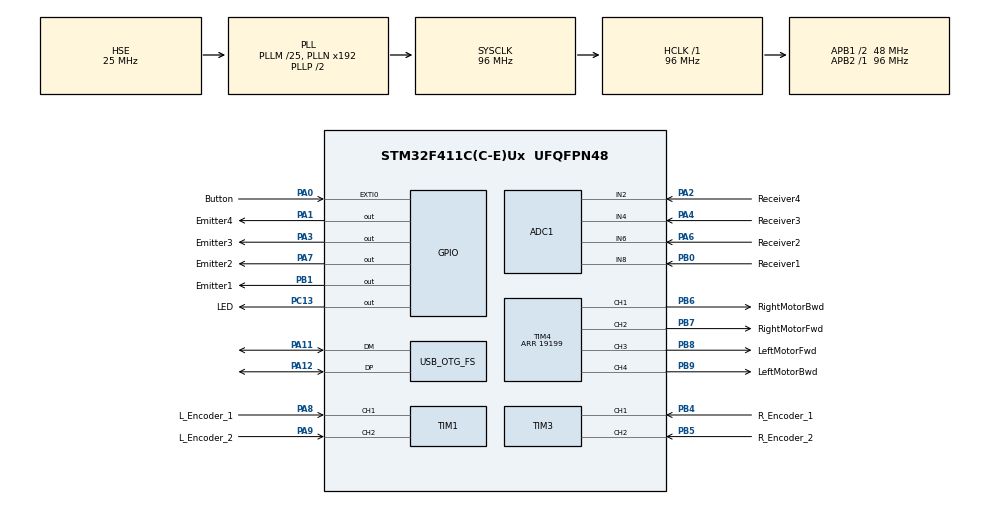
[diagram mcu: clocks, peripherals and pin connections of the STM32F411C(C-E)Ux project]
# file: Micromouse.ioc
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ADC1.Channel-0\#ChannelRegularConversion=ADC_CHANNEL_8
ADC1.ContinuousConvMode=ENABLE
ADC1.DMAContinuousRequests=ENABLE
ADC1.NbrOfConversionFlag=1
ADC1.Rank-0\#ChannelRegularConversion=1
ADC1.SamplingTime-0\#ChannelRegularConversion=ADC_SAMPLETIME_3CYCLES
ADC1.master=1
Dma.ADC1.0.Direction=DMA_PERIPH_TO_MEMORY
Dma.ADC1.0.FIFOMode=DMA_FIFOMODE_DISABLE
Dma.ADC1.0.Instance=DMA2_Stream0
Dma.ADC1.0.MemDataAlignment=DMA_MDATAALIGN_HALFWORD
Dma.ADC1.0.MemInc=DMA_MINC_ENABLE
Dma.ADC1.0.Mode=DMA_CIRCULAR
Dma.ADC1.0.PeriphDataAlignment=DMA_PDATAALIGN_HALFWORD
Dma.ADC1.0.PeriphInc=DMA_PINC_DISABLE
Dma.ADC1.0.Priority=DMA_PRIORITY_LOW
Dma.Request0=ADC1
Mcu.Family=STM32F4
Mcu.Name=STM32F411C(C-E)Ux
Mcu.Package=UFQFPN48
NVIC.DMA2_Stream0_IRQn=true\:0\:0\:false\:false\:true\:false\:true\:true
NVIC.EXTI0_IRQn=true\:0\:0\:false\:false\:true\:true\:true\:true
NVIC.OTG_FS_IRQn=true\:0\:0\:false\:false\:true\:false\:true\:true
NVIC.PriorityGroup=NVIC_PRIORITYGROUP_4
NVIC.TIM4_IRQn=true\:0\:0\:false\:false\:true\:true\:true\:true
PA0-WKUP.GPIO_Label=Button
PA0-WKUP.GPIO_ModeDefaultEXTI=GPIO_MODE_IT_RISING_FALLING
PA0-WKUP.GPIO_PuPd=GPIO_PULLUP
PA0-WKUP.Signal=GPXTI0
PA1.GPIO_Label=Emitter4
PA1.Signal=GPIO_Output
PA11.Mode=Device_Only
PA11.Signal=USB_OTG_FS_DM
PA12.Mode=Device_Only
PA12.Signal=USB_OTG_FS_DP
PA2.GPIO_Label=Receiver4
PA2.Signal=ADCx_IN2
PA3.GPIO_Label=Emitter3
PA3.Signal=GPIO_Output
PA4.GPIO_Label=Receiver3
PA4.Signal=ADCx_IN4
PA6.GPIO_Label=Receiver2
PA6.Signal=ADCx_IN6
PA7.GPIO_Label=Emitter2
PA7.Signal=GPIO_Output
PA8.GPIO_Label=L_Encoder_1
PA8.Signal=S_TIM1_CH1
PA9.GPIO_Label=L_Encoder_2
PA9.Signal=S_TIM1_CH2
PB0.GPIO_Label=Receiver1
PB0.Signal=ADCx_IN8
PB1.GPIO_Label=Emitter1
PB1.Signal=GPIO_Output
PB4.GPIO_Label=R_Encoder_1
PB4.Signal=S_TIM3_CH1
PB5.GPIO_Label=R_Encoder_2
PB5.Signal=S_TIM3_CH2
PB6.GPIO_Label=RightMotorBwd
PB6.Signal=S_TIM4_CH1
PB7.GPIO_Label=RightMotorFwd
PB7.Signal=S_TIM4_CH2
PB8.GPIO_Label=LeftMotorFwd
PB8.Signal=S_TIM4_CH3
PB9.GPIO_Label=LeftMotorBwd
PB9.Signal=S_TIM4_CH4
PC13-ANTI_TAMP.GPIO_Label=LED
PC13-ANTI_TAMP.PinState=GPIO_PIN_SET
PC13-ANTI_TAMP.Signal=GPIO_Output
PH0\ -\ OSC_IN.Mode=HSE-External-Oscillator
PH0\ -\ OSC_IN.Signal=RCC_OSC_IN
PH1\ -\ OSC_OUT.Mode=HSE-External-Oscillator
PH1\ -\ OSC_OUT.Signal=RCC_OSC_OUT
ProjectManager.HeapSize=0x200
ProjectManager.StackSize=0x1000
ProjectManager.TargetToolchain=CMake
RCC.48MHZClocksFreq_Value=48000000
RCC.AHBFreq_Value=96000000
RCC.APB1CLKDivider=RCC_HCLK_DIV2
RCC.APB1Freq_Value=48000000
RCC.APB1TimFreq_Value=96000000
RCC.APB2Freq_Value=96000000
RCC.APB2TimFreq_Value=96000000
RCC.CortexFreq_Value=96000000
RCC.HCLKFreq_Value=96000000
RCC.HSE_VALUE=25000000
RCC.HSI_VALUE=16000000
RCC.LSE_VALUE=32768
RCC.PLLM=25
RCC.SYSCLKFreq_VALUE=96000000
RCC.SYSCLKSource=RCC_SYSCLKSOURCE_PLLCLK
RCC.VCOOutputFreq_Value=192000000
SH.ADCx_IN2.0=ADC1_IN2,IN2
SH.ADCx_IN4.0=ADC1_IN4,IN4
SH.ADCx_IN6.0=ADC1_IN6,IN6
SH.ADCx_IN8.0=ADC1_IN8,IN8
SH.S_TIM1_CH1.0=TIM1_CH1,Encoder_Interface
SH.S_TIM1_CH2.0=TIM1_CH2,Encoder_Interface
SH.S_TIM3_CH1.0=TIM3_CH1,Encoder_Interface
SH.S_TIM3_CH2.0=TIM3_CH2,Encoder_Interface
SH.S_TIM4_CH1.0=TIM4_CH1,PWM Generation1 CH1
SH.S_TIM4_CH2.0=TIM4_CH2,PWM Generation2 CH2
SH.S_TIM4_CH3.0=TIM4_CH3,PWM Generation3 CH3
SH.S_TIM4_CH4.0=TIM4_CH4,PWM Generation4 CH4
TIM1.EncoderMode=TIM_ENCODERMODE_TI12
TIM3.EncoderMode=TIM_ENCODERMODE_TI12
TIM4.Channel-PWM\ Generation1\ CH1=TIM_CHANNEL_1
TIM4.Channel-PWM\ Generation2\ CH2=TIM_CHANNEL_2
TIM4.Channel-PWM\ Generation3\ CH3=TIM_CHANNEL_3
TIM4.Channel-PWM\ Generation4\ CH4=TIM_CHANNEL_4
TIM4.Period=19199
USB_DEVICE.CLASS_NAME_FS=CDC
USB_DEVICE.VirtualMode=Cdc
USB_DEVICE.VirtualModeFS=Cdc_FS
USB_OTG_FS.VirtualMode=Device_Only
VP_USB_DEVICE_VS_USB_DEVICE_CDC_FS.Mode=CDC_FS
board=custom

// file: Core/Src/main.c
/* USER CODE BEGIN Header */
/**
  ******************************************************************************
  * @file           : main.c
  * @brief          : Main program body
  ******************************************************************************
  * @attention
  *
  * Copyright (c) 2026 STMicroelectronics.
  * All rights reserved.
  *
  * This software is licensed under terms that can be found in the LICENSE file
  * in the root directory of this software component.
  * If no LICENSE file comes with this software, it is provided AS-IS.
  *
  ******************************************************************************
  */
/* USER CODE END Header */
#include "main.h"
#include "usb_device.h"

/* USER CODE BEGIN Includes */
#include "motors.h"
#include "encoders.h"
#include <stdio.h>
#include "usbd_cdc_if.h"
#include "irs.h"
#include "delay.h"

/* USER CODE END Includes */

ADC_HandleTypeDef hadc1;
DMA_HandleTypeDef hdma_adc1;

TIM_HandleTypeDef htim1;
TIM_HandleTypeDef htim3;
TIM_HandleTypeDef htim4;

/* USER CODE BEGIN PV */
__attribute__((section(".noinit"))) uint32_t dfu_boot_flag;
#define DFU_MAGIC_KEY 0x12345678
int buttonPressed = 0; // Flag to track button press state
uint32_t pressTime;

int16_t left_counts = 0;
int16_t right_counts = 0;

uint16_t ir1 = 0;
uint16_t ir2 = 0;
uint16_t ir3 = 0;
uint16_t ir4 = 0;

/* USER CODE END PV */

void SystemClock_Config(void);
static void MX_GPIO_Init(void);
static void MX_DMA_Init(void);
static void MX_TIM1_Init(void);
static void MX_TIM3_Init(void);
static void MX_TIM4_Init(void);
static void MX_ADC1_Init(void);

int main(void)
{

  /* USER CODE BEGIN 1 */
  if (dfu_boot_flag == DFU_MAGIC_KEY) {
    dfu_boot_flag = 0;
    void (*SysMemBootJump)(void) = (void (*)(void))(*((uint32_t *)0x1FFF0004));
    __set_MSP(*((uint32_t *)0x1FFF0000));
    SysMemBootJump();
    while (1);
}

  /* USER CODE END 1 */

  /* MCU Configuration--------------------------------------------------------*/

  /* Reset of all peripherals, Initializes the Flash interface and the Systick. */
  HAL_Init();

  /* Configure the system clock */
  SystemClock_Config();

  /* Initialize all configured peripherals */
  MX_GPIO_Init();
  MX_DMA_Init();
  MX_USB_DEVICE_Init();
  MX_TIM1_Init();
  MX_TIM3_Init();
  MX_TIM4_Init();
  MX_ADC1_Init();
  /* USER CODE BEGIN 2 */
HAL_TIM_Encoder_Start(&htim1, TIM_CHANNEL_ALL);
HAL_TIM_Encoder_Start(&htim3, TIM_CHANNEL_ALL);
resetEncoders();

HAL_TIM_PWM_Start(&htim4, TIM_CHANNEL_1);
HAL_TIM_PWM_Start(&htim4, TIM_CHANNEL_2);
HAL_TIM_PWM_Start(&htim4, TIM_CHANNEL_3);
HAL_TIM_PWM_Start(&htim4, TIM_CHANNEL_4);
resetMotors();

setMotorLPWM(0.0f);
setMotorRPWM(0.0f);
HAL_Delay(2000);
resetMotors();

Delay_Init();
  /* USER CODE END 2 */

  /* Infinite loop */
  /* USER CODE BEGIN WHILE */
  while (1)
  {
    left_counts = getLeftEncoderCounts();
    right_counts = getRightEncoderCounts();

    /* USER CODE END WHILE */

    /* USER CODE BEGIN 3 */
    ir1 = readIR(IR_1);
    ir2 = readIR(IR_2);
    ir3 = readIR(IR_3);
    ir4 = readIR(IR_4);
    static uint32_t last_tx = 0;
    char buf[512];
    if (HAL_GetTick() - last_tx >= 50) {
        last_tx = HAL_GetTick();
        int n = snprintf(buf, sizeof(buf), ">left:%d\n>right:%d\n>ir1:%u\n>ir2:%u\n>ir3:%u\n>ir4:%u\n",
                        left_counts, right_counts, ir1, ir2, ir3, ir4);
        CDC_Transmit_FS((uint8_t *) buf, (uint16_t) n);
    }

    if (buttonPressed) {
        uint32_t currentTime = HAL_GetTick();
        if (currentTime - pressTime >= 1000) { // 1 second
            dfu_boot_flag = DFU_MAGIC_KEY;
            HAL_NVIC_SystemReset();
        }
    }

  }
  /* USER CODE END 3 */
}

void SystemClock_Config(void)
{
  RCC_OscInitTypeDef RCC_OscInitStruct = {0};
  RCC_ClkInitTypeDef RCC_ClkInitStruct = {0};

  /** Configure the main internal regulator output voltage
  */
  __HAL_RCC_PWR_CLK_ENABLE();
  __HAL_PWR_VOLTAGESCALING_CONFIG(PWR_REGULATOR_VOLTAGE_SCALE1);

  /** Initializes the RCC Oscillators according to the specified parameters
  * in the RCC_OscInitTypeDef structure.
  */
  RCC_OscInitStruct.OscillatorType = RCC_OSCILLATORTYPE_HSE;
  RCC_OscInitStruct.HSEState = RCC_HSE_ON;
  RCC_OscInitStruct.PLL.PLLState = RCC_PLL_ON;
  RCC_OscInitStruct.PLL.PLLSource = RCC_PLLSOURCE_HSE;
  RCC_OscInitStruct.PLL.PLLM = 25;
  RCC_OscInitStruct.PLL.PLLN = 192;
  RCC_OscInitStruct.PLL.PLLP = RCC_PLLP_DIV2;
  RCC_OscInitStruct.PLL.PLLQ = 4;
  if (HAL_RCC_OscConfig(&RCC_OscInitStruct) != HAL_OK)
  {
    Error_Handler();
  }

  /** Initializes the CPU, AHB and APB buses clocks
  */
  RCC_ClkInitStruct.ClockType = RCC_CLOCKTYPE_HCLK|RCC_CLOCKTYPE_SYSCLK
                              |RCC_CLOCKTYPE_PCLK1|RCC_CLOCKTYPE_PCLK2;
  RCC_ClkInitStruct.SYSCLKSource = RCC_SYSCLKSOURCE_PLLCLK;
  RCC_ClkInitStruct.AHBCLKDivider = RCC_SYSCLK_DIV1;
  RCC_ClkInitStruct.APB1CLKDivider = RCC_HCLK_DIV2;
  RCC_ClkInitStruct.APB2CLKDivider = RCC_HCLK_DIV1;

  if (HAL_RCC_ClockConfig(&RCC_ClkInitStruct, FLASH_LATENCY_3) != HAL_OK)
  {
    Error_Handler();
  }
}

static void MX_ADC1_Init(void)
{

  ADC_ChannelConfTypeDef sConfig = {0};

  /** Configure the global features of the ADC (Clock, Resolution, Data Alignment and number of conversion)
  */
  hadc1.Instance = ADC1;
  hadc1.Init.ClockPrescaler = ADC_CLOCK_SYNC_PCLK_DIV4;
  hadc1.Init.Resolution = ADC_RESOLUTION_12B;
  hadc1.Init.ScanConvMode = DISABLE;
  hadc1.Init.ContinuousConvMode = ENABLE;
  hadc1.Init.DiscontinuousConvMode = DISABLE;
  hadc1.Init.ExternalTrigConvEdge = ADC_EXTERNALTRIGCONVEDGE_NONE;
  hadc1.Init.ExternalTrigConv = ADC_SOFTWARE_START;
  hadc1.Init.DataAlign = ADC_DATAALIGN_RIGHT;
  hadc1.Init.NbrOfConversion = 1;
  hadc1.Init.DMAContinuousRequests = ENABLE;
  hadc1.Init.EOCSelection = ADC_EOC_SINGLE_CONV;
  if (HAL_ADC_Init(&hadc1) != HAL_OK)
  {
    Error_Handler();
  }

  /** Configure for the selected ADC regular channel its corresponding rank in the sequencer and its sample time.
  */
  sConfig.Channel = ADC_CHANNEL_8;
  sConfig.Rank = 1;
  sConfig.SamplingTime = ADC_SAMPLETIME_3CYCLES;
  if (HAL_ADC_ConfigChannel(&hadc1, &sConfig) != HAL_OK)
  {
    Error_Handler();
  }

}

static void MX_TIM1_Init(void)
{

  TIM_Encoder_InitTypeDef sConfig = {0};
  TIM_MasterConfigTypeDef sMasterConfig = {0};

  htim1.Instance = TIM1;
  htim1.Init.Prescaler = 0;
  htim1.Init.CounterMode = TIM_COUNTERMODE_UP;
  htim1.Init.Period = 65535;
  htim1.Init.ClockDivision = TIM_CLOCKDIVISION_DIV1;
  htim1.Init.RepetitionCounter = 0;
  htim1.Init.AutoReloadPreload = TIM_AUTORELOAD_PRELOAD_DISABLE;
  sConfig.EncoderMode = TIM_ENCODERMODE_TI12;
  sConfig.IC1Polarity = TIM_ICPOLARITY_RISING;
  sConfig.IC1Selection = TIM_ICSELECTION_DIRECTTI;
  sConfig.IC1Prescaler = TIM_ICPSC_DIV1;
  sConfig.IC1Filter = 0;
  sConfig.IC2Polarity = TIM_ICPOLARITY_RISING;
  sConfig.IC2Selection = TIM_ICSELECTION_DIRECTTI;
  sConfig.IC2Prescaler = TIM_ICPSC_DIV1;
  sConfig.IC2Filter = 0;
  if (HAL_TIM_Encoder_Init(&htim1, &sConfig) != HAL_OK)
  {
    Error_Handler();
  }
  sMasterConfig.MasterOutputTrigger = TIM_TRGO_RESET;
  sMasterConfig.MasterSlaveMode = TIM_MASTERSLAVEMODE_DISABLE;
  if (HAL_TIMEx_MasterConfigSynchronization(&htim1, &sMasterConfig) != HAL_OK)
  {
    Error_Handler();
  }

}

static void MX_TIM3_Init(void)
{

  TIM_Encoder_InitTypeDef sConfig = {0};
  TIM_MasterConfigTypeDef sMasterConfig = {0};

  htim3.Instance = TIM3;
  htim3.Init.Prescaler = 0;
  htim3.Init.CounterMode = TIM_COUNTERMODE_UP;
  htim3.Init.Period = 65535;
  htim3.Init.ClockDivision = TIM_CLOCKDIVISION_DIV1;
  htim3.Init.AutoReloadPreload = TIM_AUTORELOAD_PRELOAD_DISABLE;
  sConfig.EncoderMode = TIM_ENCODERMODE_TI12;
  sConfig.IC1Polarity = TIM_ICPOLARITY_RISING;
  sConfig.IC1Selection = TIM_ICSELECTION_DIRECTTI;
  sConfig.IC1Prescaler = TIM_ICPSC_DIV1;
  sConfig.IC1Filter = 0;
  sConfig.IC2Polarity = TIM_ICPOLARITY_RISING;
  sConfig.IC2Selection = TIM_ICSELECTION_DIRECTTI;
  sConfig.IC2Prescaler = TIM_ICPSC_DIV1;
  sConfig.IC2Filter = 0;
  if (HAL_TIM_Encoder_Init(&htim3, &sConfig) != HAL_OK)
  {
    Error_Handler();
  }
  sMasterConfig.MasterOutputTrigger = TIM_TRGO_RESET;
  sMasterConfig.MasterSlaveMode = TIM_MASTERSLAVEMODE_DISABLE;
  if (HAL_TIMEx_MasterConfigSynchronization(&htim3, &sMasterConfig) != HAL_OK)
  {
    Error_Handler();
  }

}

static void MX_TIM4_Init(void)
{

  TIM_MasterConfigTypeDef sMasterConfig = {0};
  TIM_OC_InitTypeDef sConfigOC = {0};

  htim4.Instance = TIM4;
  htim4.Init.Prescaler = 0;
  htim4.Init.CounterMode = TIM_COUNTERMODE_UP;
  htim4.Init.Period = 19199;
  htim4.Init.ClockDivision = TIM_CLOCKDIVISION_DIV1;
  htim4.Init.AutoReloadPreload = TIM_AUTORELOAD_PRELOAD_DISABLE;
  if (HAL_TIM_PWM_Init(&htim4) != HAL_OK)
  {
    Error_Handler();
  }
  sMasterConfig.MasterOutputTrigger = TIM_TRGO_RESET;
  sMasterConfig.MasterSlaveMode = TIM_MASTERSLAVEMODE_DISABLE;
  if (HAL_TIMEx_MasterConfigSynchronization(&htim4, &sMasterConfig) != HAL_OK)
  {
    Error_Handler();
  }
  sConfigOC.OCMode = TIM_OCMODE_PWM1;
  sConfigOC.Pulse = 0;
  sConfigOC.OCPolarity = TIM_OCPOLARITY_HIGH;
  sConfigOC.OCFastMode = TIM_OCFAST_DISABLE;
  if (HAL_TIM_PWM_ConfigChannel(&htim4, &sConfigOC, TIM_CHANNEL_1) != HAL_OK)
  {
    Error_Handler();
  }
  if (HAL_TIM_PWM_ConfigChannel(&htim4, &sConfigOC, TIM_CHANNEL_2) != HAL_OK)
  {
    Error_Handler();
  }
  if (HAL_TIM_PWM_ConfigChannel(&htim4, &sConfigOC, TIM_CHANNEL_3) != HAL_OK)
  {
    Error_Handler();
  }
  if (HAL_TIM_PWM_ConfigChannel(&htim4, &sConfigOC, TIM_CHANNEL_4) != HAL_OK)
  {
    Error_Handler();
  }
  HAL_TIM_MspPostInit(&htim4);

}

static void MX_DMA_Init(void)
{

  /* DMA controller clock enable */
  __HAL_RCC_DMA2_CLK_ENABLE();

  /* DMA interrupt init */
  /* DMA2_Stream0_IRQn interrupt configuration */
  HAL_NVIC_SetPriority(DMA2_Stream0_IRQn, 0, 0);
  HAL_NVIC_EnableIRQ(DMA2_Stream0_IRQn);

}

static void MX_GPIO_Init(void)
{
  GPIO_InitTypeDef GPIO_InitStruct = {0};

  /* GPIO Ports Clock Enable */
  __HAL_RCC_GPIOC_CLK_ENABLE();
  __HAL_RCC_GPIOH_CLK_ENABLE();
  __HAL_RCC_GPIOA_CLK_ENABLE();
  __HAL_RCC_GPIOB_CLK_ENABLE();

  /*Configure GPIO pin Output Level */
  HAL_GPIO_WritePin(LED_GPIO_Port, LED_Pin, GPIO_PIN_SET);

  /*Configure GPIO pin Output Level */
  HAL_GPIO_WritePin(GPIOA, Emitter4_Pin|Emitter3_Pin|Emitter2_Pin, GPIO_PIN_RESET);

  /*Configure GPIO pin Output Level */
  HAL_GPIO_WritePin(Emitter1_GPIO_Port, Emitter1_Pin, GPIO_PIN_RESET);

  /*Configure GPIO pin : LED_Pin */
  GPIO_InitStruct.Pin = LED_Pin;
  GPIO_InitStruct.Mode = GPIO_MODE_OUTPUT_PP;
  GPIO_InitStruct.Pull = GPIO_NOPULL;
  GPIO_InitStruct.Speed = GPIO_SPEED_FREQ_LOW;
  HAL_GPIO_Init(LED_GPIO_Port, &GPIO_InitStruct);

  /*Configure GPIO pin : Button_Pin */
  GPIO_InitStruct.Pin = Button_Pin;
  GPIO_InitStruct.Mode = GPIO_MODE_IT_RISING_FALLING;
  GPIO_InitStruct.Pull = GPIO_PULLUP;
  HAL_GPIO_Init(Button_GPIO_Port, &GPIO_InitStruct);

  /*Configure GPIO pins : Emitter4_Pin Emitter3_Pin Emitter2_Pin */
  GPIO_InitStruct.Pin = Emitter4_Pin|Emitter3_Pin|Emitter2_Pin;
  GPIO_InitStruct.Mode = GPIO_MODE_OUTPUT_PP;
  GPIO_InitStruct.Pull = GPIO_NOPULL;
  GPIO_InitStruct.Speed = GPIO_SPEED_FREQ_LOW;
  HAL_GPIO_Init(GPIOA, &GPIO_InitStruct);

  /*Configure GPIO pin : Emitter1_Pin */
  GPIO_InitStruct.Pin = Emitter1_Pin;
  GPIO_InitStruct.Mode = GPIO_MODE_OUTPUT_PP;
  GPIO_InitStruct.Pull = GPIO_NOPULL;
  GPIO_InitStruct.Speed = GPIO_SPEED_FREQ_LOW;
  HAL_GPIO_Init(Emitter1_GPIO_Port, &GPIO_InitStruct);

  /* EXTI interrupt init*/
  HAL_NVIC_SetPriority(EXTI0_IRQn, 0, 0);
  HAL_NVIC_EnableIRQ(EXTI0_IRQn);

}

/* USER CODE BEGIN 4 */
void HAL_GPIO_EXTI_Callback(uint16_t GPIO_PIN)
{
 // HAL_GPIO_WritePin(LED_GPIO_Port, LED_Pin, GPIO_PIN_RESET);
	if (GPIO_PIN == Button_Pin)
	{

  if (HAL_GPIO_ReadPin(Button_GPIO_Port, Button_Pin) == GPIO_PIN_RESET)
  {
    HAL_GPIO_WritePin(LED_GPIO_Port, LED_Pin, GPIO_PIN_RESET);
    buttonPressed = 1; // Set the button pressed flag
    pressTime =HAL_GetTick();

  }
  else
  {
    HAL_GPIO_WritePin(LED_GPIO_Port, LED_Pin, GPIO_PIN_SET);
    buttonPressed = 0; // Clear the button pressed flag
  }

}
}

/* USER CODE END 4 */

void Error_Handler(void)
{
  __disable_irq();
  while (1)
  {
  }
}
